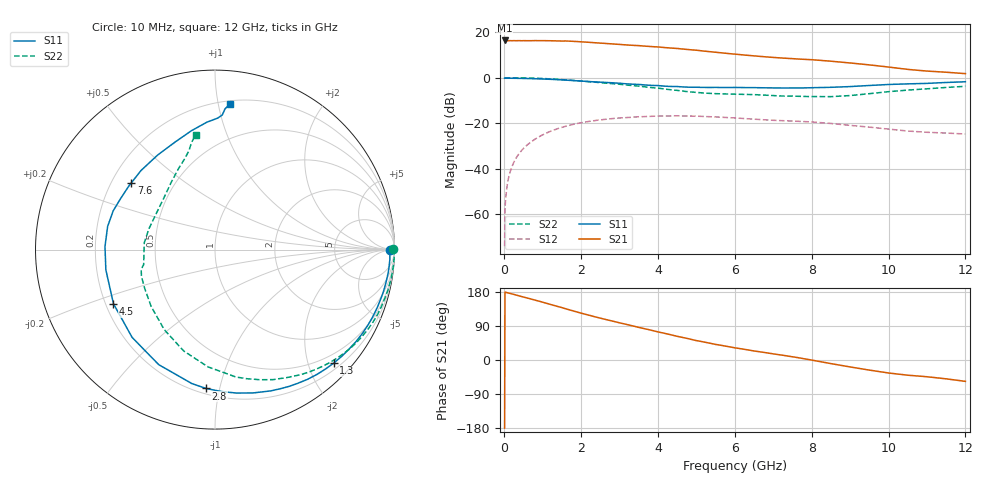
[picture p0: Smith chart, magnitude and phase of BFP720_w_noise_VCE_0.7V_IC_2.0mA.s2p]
! Infineon Technologies  Discrete & RF Semiconductors
! BFP720
! VCE =  0.7 V,  IC =  2.0 mA
! Common Emitter S-Parameters:  Aug 2012
# GHz  S  MA  R  50
!  f  S11  S21  S12  S22
! GHz  MAG  ANG  MAG  ANG  MAG  ANG  MAG  ANG
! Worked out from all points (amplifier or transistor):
!   105 points, 10 MHz to 12 GHz, reference 50 ohm
!   highest |S21| = 16.4 dB at 10 MHz (marker M1)
!   |S21| within 3 dB of that: start of sweep to 4.094 GHz
!   unconditionally stable (mu >= 1): start of sweep to 10.39 MHz; 8.309 GHz to end of sweep
!   at 300 MHz: K = 0.01, MSG = 25.9 dB, |S12| = -35.5 dB
!   at 3.6 GHz: K = 0.30, MSG = 15.5 dB, |S12| = -17.1 dB
!   at 12 GHz: K = 1.09, MAG = 11.5 dB, |S12| = -24.7 dB
!   lowest NFmin = 0.39 dB at 450 MHz
!   S11 on the Smith chart (normalised r, x): 10 MHz: 75, +0; 1.3 GHz: 0.32, -2.46; 2.8 GHz: 0.23, -0.91; 4.5 GHz: 0.23, -0.24; 7.6 GHz: 0.28, +0.32; 12 GHz: 0.22, +1.09
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0.01  0.9736 0.0  6.585 -179.7  0.0002 3.5  0.9928 0.2
0.02  0.976 -0.6  6.416 179.2  0.0013 90.5  0.9994 -0.5
0.04  0.975 -1.2  6.475 178.6  0.0023 92.5  0.9986 -1.1
0.1  0.9758 -3.2  6.491 177.2  0.0057 86.5  0.9989 -2.7
0.2  0.9742 -6.3  6.502 174.4  0.0111 85.5  0.9976 -5.3
0.45  0.9667 -14.4  6.495 167.5  0.0251 80.0  0.9911 -12.1
0.8  0.9506 -26.1  6.54 158.1  0.0447 71.6  0.9754 -21.7
1.3  0.9151 -43.7  6.466 143.9  0.0715 59.0  0.9335 -36.1
1.7  0.8762 -58.2  6.353 132.2  0.0905 48.7  0.8838 -47.4
2.1  0.8351 -71.7  6.071 121.0  0.106 38.8  0.8302 -58.1
2.8  0.7753 -93.7  5.537 103.1  0.1264 23.1  0.7422 -75.9
3.5  0.7138 -116.0  5.073 86.0  0.139 8.9  0.655 -93.3
4.1  0.661 -136.9  4.657 72.0  0.1442 -2.7  0.5755 -109.9
4.5  0.6411 -151.9  4.394 62.5  0.1459 -10.2  0.5276 -122.5
5  0.6184 -169.5  4.018 51.2  0.1434 -19.1  0.4763 -138.3
5.5  0.6131 178.4  3.633 41.1  0.138 -27.1  0.4472 -151.3
6.1  0.6099 166.1  3.237 30.6  0.1292 -34.9  0.4337 -161.0
7.6  0.5963 141.5  2.593 6.9  0.1108 -49.1  0.3928 172.3
8.5  0.6161 121.3  2.308 -9.5  0.099 -58.9  0.3843 148.0
9.5  0.6753 101.2  1.915 -26.6  0.0822 -65.1  0.4465 123.2
10.5  0.7328 88.8  1.525 -40.1  0.0675 -66.9  0.5354 108.2
12  0.8162 84.0  1.231 -56.4  0.0581 -65.0  0.648 99.6
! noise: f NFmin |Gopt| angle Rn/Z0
0.45  0.39  0.68  5  0.26
1.8  0.53  0.62  29  0.21
2.4  0.62  0.52  76  0.19
5.5  0.87  0.39  86  0.14
10  1.32  0.47  -108  0.22
